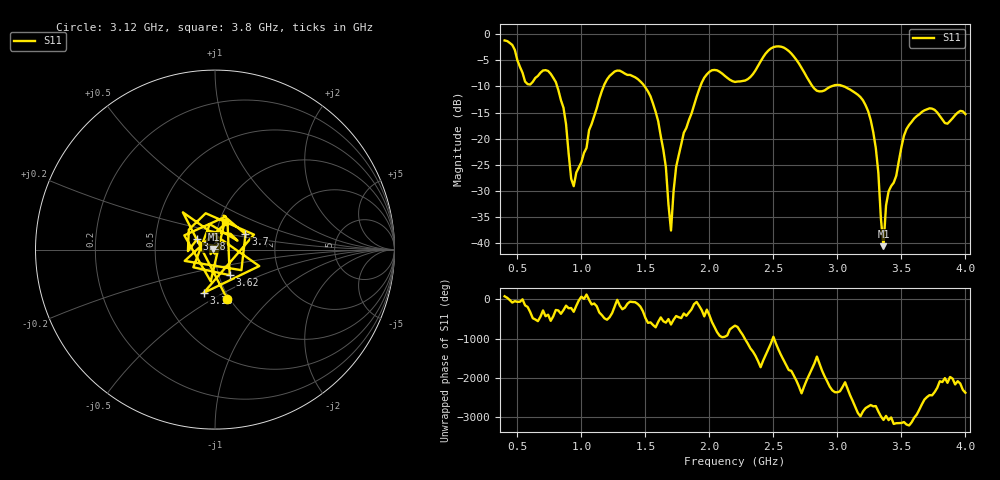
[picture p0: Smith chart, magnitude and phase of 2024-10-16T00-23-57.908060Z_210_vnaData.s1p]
! Created with skrf (http://scikit-rf.org).
# Hz S RI R 50.0
!freq ReS11 ImS11
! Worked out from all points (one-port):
!   181 points, 400 MHz to 4 GHz, reference 50 ohm
!   lowest |S11| = -40.6 dB at 3.36 GHz (marker M1), VSWR 1.02, Z = 49.1 + j0.278 ohm
!   |S11| at or under -10 dB: 810.8 MHz to 1.174 GHz (362.8 MHz wide, 36.6 % of centre); 1.494 GHz to 1.929 GHz (434.7 MHz wide, 25.4 % of centre); 3.051 GHz to end of sweep (the widest 3 of 4)
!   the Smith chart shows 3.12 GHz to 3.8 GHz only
!   S11 on the Smith chart (normalised r, x): 3.12 GHz: 0.97, -0.58; 3.18 GHz: 0.79, -0.41; 3.28 GHz: 0.81, +0.09; 3.62 GHz: 1.13, -0.33; 3.7 GHz: 1.38, +0.25; 3.8 GHz: 1.06, +0.34
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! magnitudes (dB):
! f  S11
! 400 MHz  -1.2
! 580 MHz  -9.6
! 760 MHz  -7.6
! 860 MHz  -14.1
! 940 MHz  -29.1
! 1.18 GHz  -9.6
! 1.3 GHz  -7.0
! 1.56 GHz  -13.3
! 1.66 GHz  -25.5
! 1.7 GHz  -37.6
! 1.76 GHz  -23.2
! 1.96 GHz  -8.3
! 2.2 GHz  -9.1
! 2.5 GHz  -2.5
! 2.66 GHz  -4.3
! 2.84 GHz  -10.8
! 3.1 GHz  -10.6
! 3.12 GHz  -10.9
! 3.18 GHz  -12.0
! 3.28 GHz  -18.7
! 3.32 GHz  -26.6
! 3.36 GHz  -40.6
! 3.4 GHz  -30.1
! 3.56 GHz  -17.4
! 3.62 GHz  -15.7
! 3.7 GHz  -14.4
! 3.8 GHz  -15.7
! 4 GHz  -15.3
